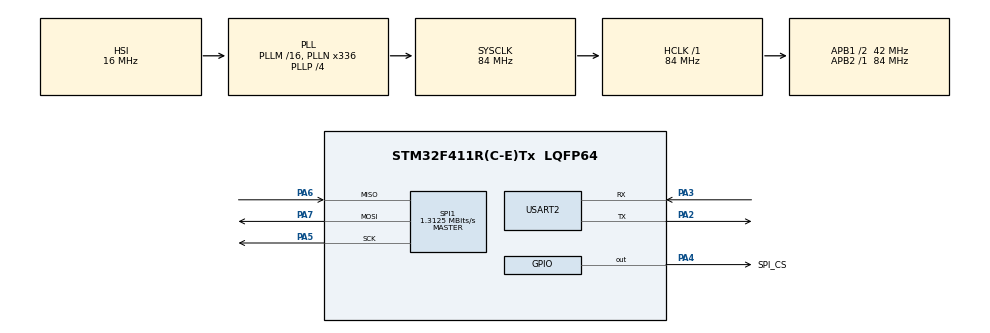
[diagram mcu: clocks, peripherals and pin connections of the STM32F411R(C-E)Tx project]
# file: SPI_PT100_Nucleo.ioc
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Mcu.Family=STM32F4
Mcu.Name=STM32F411R(C-E)Tx
Mcu.Package=LQFP64
NVIC.PriorityGroup=NVIC_PRIORITYGROUP_0
PA2.Mode=Asynchronous
PA2.Signal=USART2_TX
PA3.Mode=Asynchronous
PA3.Signal=USART2_RX
PA4.GPIO_Label=SPI_CS
PA4.Signal=GPIO_Output
PA5.Mode=Full_Duplex_Master
PA5.Signal=SPI1_SCK
PA6.Mode=Full_Duplex_Master
PA6.Signal=SPI1_MISO
PA7.Mode=Full_Duplex_Master
PA7.Signal=SPI1_MOSI
ProjectManager.HeapSize=0x200
ProjectManager.StackSize=0x400
ProjectManager.TargetToolchain=STM32CubeIDE
RCC.48MHZClocksFreq_Value=84000000
RCC.AHBFreq_Value=84000000
RCC.APB1CLKDivider=RCC_HCLK_DIV2
RCC.APB1Freq_Value=42000000
RCC.APB1TimFreq_Value=84000000
RCC.APB2Freq_Value=84000000
RCC.APB2TimFreq_Value=84000000
RCC.CortexFreq_Value=84000000
RCC.FLatency-AdvancedSettings=FLASH_LATENCY_2
RCC.HCLKFreq_Value=84000000
RCC.HSE_VALUE=8000000
RCC.HSI_VALUE=16000000
RCC.LSE_VALUE=32768
RCC.PLLN=336
RCC.PLLP=RCC_PLLP_DIV4
RCC.SYSCLKFreq_VALUE=84000000
RCC.SYSCLKSource=RCC_SYSCLKSOURCE_PLLCLK
RCC.VCOOutputFreq_Value=336000000
SPI1.BaudRatePrescaler=SPI_BAUDRATEPRESCALER_64
SPI1.CalculateBaudRate=1.3125 MBits/s
SPI1.Direction=SPI_DIRECTION_2LINES
SPI1.FirstBit=SPI_FIRSTBIT_MSB
SPI1.Mode=SPI_MODE_MASTER
SPI1.VirtualType=VM_MASTER
USART2.VirtualMode=VM_ASYNC
board=NUCLEO-F411RE

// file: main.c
/* USER CODE BEGIN Header */
/**
  ******************************************************************************
  * @file           : main.c
  * @brief          : Main program body
  ******************************************************************************
  * @attention
  *
  * Copyright (c) 2025 STMicroelectronics.
  * All rights reserved.
  *
  * This software is licensed under terms that can be found in the LICENSE file
  * in the root directory of this software component.
  * If no LICENSE file comes with this software, it is provided AS-IS.
  *
  ******************************************************************************
  */
/* USER CODE END Header */
#include "main.h"
#include <stdio.h>
#include <math.h>
#include "MAX31865.h"

SPI_HandleTypeDef hspi1;

UART_HandleTypeDef huart2;

void SystemClock_Config(void);
static void MX_GPIO_Init(void);
static void MX_USART2_UART_Init(void);
static void MX_SPI1_Init(void);

/* USER CODE BEGIN 0 */
int __io_putchar(int ch)
{
    HAL_UART_Transmit(&huart2, (uint8_t *)&ch, 1, HAL_MAX_DELAY);
    return ch;
}
/* USER CODE END 0 */

int main(void)
{

  /* MCU Configuration--------------------------------------------------------*/

  /* Reset of all peripherals, Initializes the Flash interface and the Systick. */
  HAL_Init();

  /* Configure the system clock */
  SystemClock_Config();

  /* Initialize all configured peripherals */
  MX_GPIO_Init();
  MX_USART2_UART_Init();
  MX_SPI1_Init();
  /* USER CODE BEGIN 2 */
   printf("\r\n--- MAX31865 PT100 Reader (Nucleo-F411RE) ---\r\n");
   printf("Opening serial on COM4 @115200 8-N-1\r\n");
   /* Initialize MAX31865 */
    MAX31865_Init();
    HAL_Delay(100);
    MAX31865_ClearFaults();
    HAL_Delay(100);
  /* USER CODE END 2 */

  /* Infinite loop */
  /* USER CODE BEGIN WHILE */
	  while (1)
	  {
		   MAX31865_WriteRegister(0x00, 0xC3);
	     uint8_t fault = MAX31865_ReadFault();
		  //uint8_t fault =0;
	      if (fault != 0)
	      {
	          printf("Fault: 0x%02X\r\n", fault);
	          MAX31865_ClearFaults();
	          HAL_Delay(200);
	          continue;
	      }

	      // READ ONCE
	      uint16_t rtd_counts = MAX31865_ReadRTD();
	      float resistance = ((float)rtd_counts * RREF_OHMS) / 32768.0;
	      float temperature = rtd_to_temperature(resistance);

	      if (isnan(temperature))
	          printf("RTD=%u  R=%.2f Ω  T=NaN (bad or out of range)\r\n",
	                 rtd_counts, resistance);
	      else
	          printf("RTD=%u  R=%.2f Ω  T= %.2f °C\r\n",
	                 rtd_counts, resistance, temperature);

	      HAL_Delay(1000);

    /* USER CODE END WHILE */

  }
}

void SystemClock_Config(void)
{
  RCC_OscInitTypeDef RCC_OscInitStruct = {0};
  RCC_ClkInitTypeDef RCC_ClkInitStruct = {0};

  /** Configure the main internal regulator output voltage
  */
  __HAL_RCC_PWR_CLK_ENABLE();
  __HAL_PWR_VOLTAGESCALING_CONFIG(PWR_REGULATOR_VOLTAGE_SCALE1);

  /** Initializes the RCC Oscillators according to the specified parameters
  * in the RCC_OscInitTypeDef structure.
  */
  RCC_OscInitStruct.OscillatorType = RCC_OSCILLATORTYPE_HSI;
  RCC_OscInitStruct.HSIState = RCC_HSI_ON;
  RCC_OscInitStruct.HSICalibrationValue = RCC_HSICALIBRATION_DEFAULT;
  RCC_OscInitStruct.PLL.PLLState = RCC_PLL_ON;
  RCC_OscInitStruct.PLL.PLLSource = RCC_PLLSOURCE_HSI;
  RCC_OscInitStruct.PLL.PLLM = 16;
  RCC_OscInitStruct.PLL.PLLN = 336;
  RCC_OscInitStruct.PLL.PLLP = RCC_PLLP_DIV4;
  RCC_OscInitStruct.PLL.PLLQ = 4;
  if (HAL_RCC_OscConfig(&RCC_OscInitStruct) != HAL_OK)
  {
    Error_Handler();
  }

  /** Initializes the CPU, AHB and APB buses clocks
  */
  RCC_ClkInitStruct.ClockType = RCC_CLOCKTYPE_HCLK|RCC_CLOCKTYPE_SYSCLK
                              |RCC_CLOCKTYPE_PCLK1|RCC_CLOCKTYPE_PCLK2;
  RCC_ClkInitStruct.SYSCLKSource = RCC_SYSCLKSOURCE_PLLCLK;
  RCC_ClkInitStruct.AHBCLKDivider = RCC_SYSCLK_DIV1;
  RCC_ClkInitStruct.APB1CLKDivider = RCC_HCLK_DIV2;
  RCC_ClkInitStruct.APB2CLKDivider = RCC_HCLK_DIV1;

  if (HAL_RCC_ClockConfig(&RCC_ClkInitStruct, FLASH_LATENCY_2) != HAL_OK)
  {
    Error_Handler();
  }
}

static void MX_SPI1_Init(void)
{

  /* SPI1 parameter configuration*/
  hspi1.Instance = SPI1;
  hspi1.Init.Mode = SPI_MODE_MASTER;
  hspi1.Init.Direction = SPI_DIRECTION_2LINES;
  hspi1.Init.DataSize = SPI_DATASIZE_8BIT;
  hspi1.Init.CLKPolarity = SPI_POLARITY_LOW;
  hspi1.Init.CLKPhase = SPI_PHASE_1EDGE;
  hspi1.Init.NSS = SPI_NSS_SOFT;
  hspi1.Init.BaudRatePrescaler = SPI_BAUDRATEPRESCALER_64;
  hspi1.Init.FirstBit = SPI_FIRSTBIT_MSB;
  hspi1.Init.TIMode = SPI_TIMODE_DISABLE;
  hspi1.Init.CRCCalculation = SPI_CRCCALCULATION_DISABLE;
  hspi1.Init.CRCPolynomial = 10;
  if (HAL_SPI_Init(&hspi1) != HAL_OK)
  {
    Error_Handler();
  }

}

static void MX_USART2_UART_Init(void)
{

  huart2.Instance = USART2;
  huart2.Init.BaudRate = 115200;
  huart2.Init.WordLength = UART_WORDLENGTH_8B;
  huart2.Init.StopBits = UART_STOPBITS_1;
  huart2.Init.Parity = UART_PARITY_NONE;
  huart2.Init.Mode = UART_MODE_TX_RX;
  huart2.Init.HwFlowCtl = UART_HWCONTROL_NONE;
  huart2.Init.OverSampling = UART_OVERSAMPLING_16;
  if (HAL_UART_Init(&huart2) != HAL_OK)
  {
    Error_Handler();
  }

}

static void MX_GPIO_Init(void)
{
  GPIO_InitTypeDef GPIO_InitStruct = {0};

  /* GPIO Ports Clock Enable */
  __HAL_RCC_GPIOA_CLK_ENABLE();

  /*Configure GPIO pin Output Level */
  HAL_GPIO_WritePin(SPI_CS_GPIO_Port, SPI_CS_Pin, GPIO_PIN_RESET);

  /*Configure GPIO pin : SPI_CS_Pin */
  GPIO_InitStruct.Pin = SPI_CS_Pin;
  GPIO_InitStruct.Mode = GPIO_MODE_OUTPUT_PP;
  GPIO_InitStruct.Pull = GPIO_NOPULL;
  GPIO_InitStruct.Speed = GPIO_SPEED_FREQ_LOW;
  HAL_GPIO_Init(SPI_CS_GPIO_Port, &GPIO_InitStruct);

}

void Error_Handler(void)
{
  __disable_irq();
  while (1)
  {
  }
}
